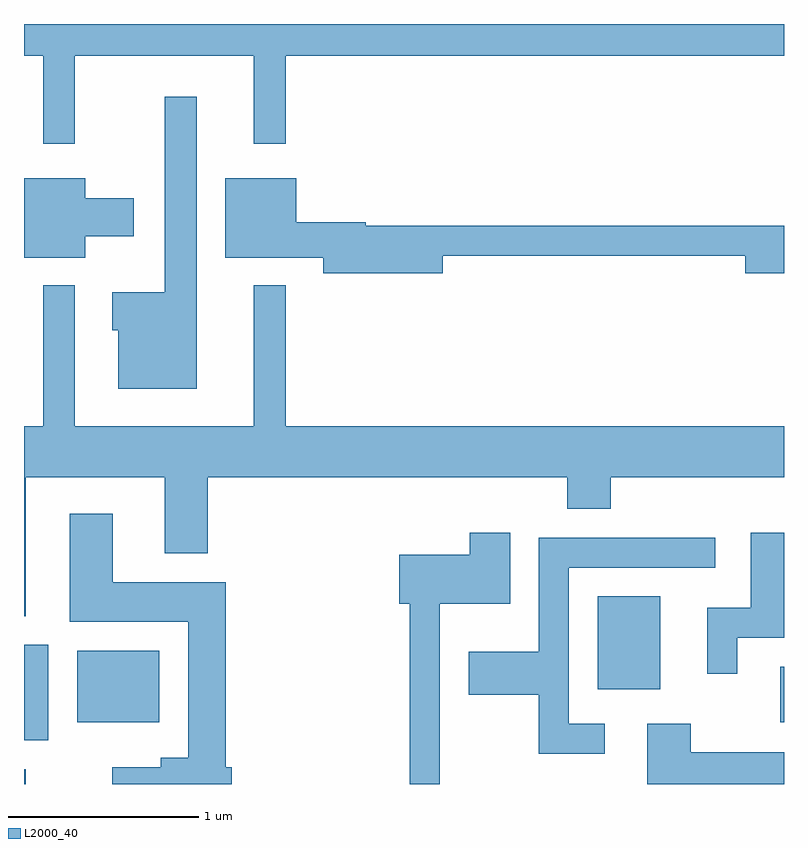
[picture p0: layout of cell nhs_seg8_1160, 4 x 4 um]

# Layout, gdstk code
import gdstk
lib = gdstk.Library(unit=1e-6, precision=1e-09)
def R(c, l, rs):  # rectangles x0, y0, x1, y1
    for r in rs: c.add(gdstk.rectangle(r[:2], r[2:], *l))
def P(c, l, *ps):  # polygons
    for p in ps: c.add(gdstk.Polygon(p, *l))
L2000_40 = (2000, 40)

nhs_seg8_1160 = lib.new_cell('nhs_seg8_1160')
R(nhs_seg8_1160, L2000_40, [(219.611,1850.342,219.619,1850.419), (219.611,1850.571,219.739,1851.074), (219.891,1850.666,220.324,1851.044), (223.591,1850.666,223.611,1850.959), (222.631,1850.841,222.959,1851.329)])
P(nhs_seg8_1160, L2000_40, [(219.879,1854.176),(220.821,1854.176),(220.821,1853.713),(220.989,1853.713),(220.989,1854.176),(223.611,1854.176),(223.611,1854.342),(219.611,1854.342),(219.611,1854.176),(219.711,1854.176),(219.711,1853.713),(219.879,1853.713)],
  [(220.519,1853.958),(220.351,1853.958),(220.351,1852.929),(220.076,1852.929),(220.076,1852.731),(220.106,1852.731),(220.106,1852.421),(220.519,1852.421)],
  [(219.934,1853.226),(220.189,1853.226),(220.189,1853.424),(219.934,1853.424),(219.934,1853.529),(219.611,1853.529),(219.611,1853.111),(219.934,1853.111)],
  [(221.814,1853.121),(223.406,1853.121),(223.406,1853.031),(223.611,1853.031),(223.611,1853.279),(221.409,1853.279),(221.409,1853.299),(221.044,1853.299),(221.044,1853.529),(220.671,1853.529),(220.671,1853.111),(221.186,1853.111),(221.186,1853.031),(221.814,1853.031)],
  [(219.619,1851.956),(220.351,1851.956),(220.351,1851.556),(220.579,1851.556),(220.579,1851.956),(222.471,1851.956),(222.471,1851.791),(222.699,1851.791),(222.699,1851.956),(223.611,1851.956),(223.611,1852.224),(220.989,1852.224),(220.989,1852.968),(220.821,1852.968),(220.821,1852.224),(219.879,1852.224),(219.879,1852.968),(219.711,1852.968),(219.711,1852.224),(219.611,1852.224),(219.611,1851.226),(219.619,1851.226)],
  [(220.704,1850.429),(220.674,1850.429),(220.674,1851.404),(220.079,1851.404),(220.079,1851.764),(219.851,1851.764),(219.851,1851.196),(220.476,1851.196),(220.476,1850.479),(220.331,1850.479),(220.331,1850.429),(220.076,1850.429),(220.076,1850.342),(220.704,1850.342)],
  [(221.799,1851.291),(222.169,1851.291),(222.169,1851.664),(221.956,1851.664),(221.956,1851.549),(221.586,1851.549),(221.586,1851.291),(221.641,1851.291),(221.641,1850.342),(221.799,1850.342)],
  [(223.364,1851.111),(223.611,1851.111),(223.611,1851.664),(223.436,1851.664),(223.436,1851.269),(223.206,1851.269),(223.206,1850.923),(223.364,1850.923)],
  [(222.668,1850.659),(222.479,1850.659),(222.479,1851.481),(223.248,1851.481),(223.248,1851.639),(222.321,1851.639),(222.321,1851.039),(221.951,1851.039),(221.951,1850.811),(222.321,1850.811),(222.321,1850.501),(222.668,1850.501)],
  [(223.611,1850.509),(223.119,1850.509),(223.119,1850.659),(222.891,1850.659),(222.891,1850.342),(223.611,1850.342)])

lib.write_gds('nhs_seg8_1160.gds')
